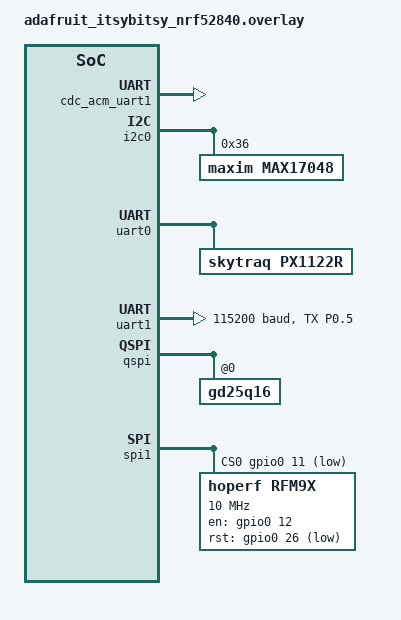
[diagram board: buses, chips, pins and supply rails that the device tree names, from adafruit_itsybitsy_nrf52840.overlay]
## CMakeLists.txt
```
cmake_minimum_required(VERSION 3.20.0)

list(APPEND ZEPHYR_EXTRA_MODULES
        ${CMAKE_CURRENT_SOURCE_DIR}/drivers/px1122r
        ${CMAKE_CURRENT_SOURCE_DIR}/drivers/max17048
        ${CMAKE_CURRENT_SOURCE_DIR}/drivers/rfm9x
        )

if (NOT CMAKE_BUILD_TYPE)
    set(CMAKE_BUILD_TYPE ZDebug)
endif ()

set(CONF_FILE "prj.${CMAKE_BUILD_TYPE}.conf" "prj.conf")

find_package(Zephyr REQUIRED HINTS $ENV{ZEPHYR_BASE})
project(diy_gnss_v2)

set(SOURCES
        src/main.c
        src/events/gnss_event.c
        src/events/data_event.c
        src/modules/gnss_module.c
        src/modules/io_module.c
        src/modules/data_module.c
        src/modules/sensor_module.c
        )

target_sources(app PRIVATE ${SOURCES})

zephyr_include_directories(
        configuration/${BOARD}  # Add include directory for board specific CAF def files
        include
)
```

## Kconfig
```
menu "DIY GNSS v2"

rsource "drivers/Kconfig"

endmenu
```

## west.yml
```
manifest:
  self:
    path: diy_gnss_v2
vdfzvfdsb 
  remotes:
    - name: nrfconnect
      url-base: https://github.com/nrfconnect

 projects:
    - name: nrf
      repo-path: sdk-nrf
      remote: nrfconnect
      revision: v2.2.0
```

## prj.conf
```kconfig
# This is not C or C++
CONFIG_SERIAL=y

CONFIG_UART_ASYNC_API=y
CONFIG_UART_0_INTERRUPT_DRIVEN=n
CONFIG_UART_0_ASYNC=y
CONFIG_UART_1_INTERRUPT_DRIVEN=n
CONFIG_UART_1_ASYNC=y
CONFIG_PX1122R_DRIVER=y

CONFIG_SPI=n
CONFIG_SPI_ASYNC=n
CONFIG_RFM9x=n

CONFIG_I2C=n
CONFIG_SENSOR=n
CONFIG_MAX17048=n

CONFIG_LOG=y
CONFIG_LOG_SPEED=y
CONFIG_LOG_DEFAULT_LEVEL=1

CONFIG_CBPRINTF_FP_SUPPORT=y
CONFIG_APP_EVENT_MANAGER=y
CONFIG_HEAP_MEM_POOL_SIZE=2048

CONFIG_CAF=y

CONFIG_CAF_BUTTONS=y
CONFIG_CAF_BUTTONS_POLARITY_INVERSED=y

CONFIG_BT=y
CONFIG_BT_SMP=y
CONFIG_BT_PERIPHERAL=y
CONFIG_BT_DEVICE_NAME="DIY GNSS"
CONFIG_BT_ADV_PROV=y
CONFIG_BT_ADV_PROV_DEVICE_NAME=y
CONFIG_BT_DEVICE_NAME_DYNAMIC=y
CONFIG_BT_DEVICE_APPEARANCE=1362
CONFIG_BT_NUS=y
CONFIG_BT_L2CAP_TX_MTU=512
CONFIG_BT_BUF_ACL_RX_SIZE=516
CONFIG_BT_GATT_CLIENT=y
CONFIG_CAF_BLE_STATE=y
CONFIG_CAF_BLE_ADV=y
CONFIG_CAF_BLE_ADV_PM_EVENTS=y
CONFIG_CAF_PM_EVENTS=y

CONFIG_SETTINGS=y
CONFIG_NVS=y
CONFIG_SETTINGS_NVS=y
CONFIG_FLASH=y
CONFIG_FLASH_PAGE_LAYOUT=y
CONFIG_FLASH_MAP=y
CONFIG_SETTINGS_RUNTIME=y
CONFIG_CAF_SETTINGS_LOADER=y
CONFIG_CAF_SETTINGS_LOADER_USE_THREAD=y
CONFIG_CAF_SETTINGS_LOADER_THREAD_STACK_SIZE=512
CONFIG_NORDIC_QSPI_NOR=y
```

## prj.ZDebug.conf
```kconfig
CONFIG_DEBUG_OPTIMIZATIONS=y
CONFIG_DEBUG=y
CONFIG_REBOOT=y
CONFIG_THREAD_NAME=y
CONFIG_THREAD_MONITOR=y
```

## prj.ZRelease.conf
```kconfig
# This is not C or C++
CONFIG_SPEED_OPTIMIZATIONS=y
CONFIG_ASSERT=n
# These don't need to be here unless you're debugging a release build.
CONFIG_THREAD_NAME=y
CONFIG_THREAD_MONITOR=y
```

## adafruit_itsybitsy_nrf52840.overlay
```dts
/ {
	chosen {
		nordic,nus-uart = &cdc_acm_uart1;
	};
};

&zephyr_udc0 {
	cdc_acm_uart1: cdc_acm_uart1 {
		compatible = "zephyr,cdc-acm-uart";
	};
};

&pinctrl {
	uart1_default: uart1_default {
		group1 {
			psels = <NRF_PSEL(UART_TX, 0, 5)>;
		};
	};

	uart1_sleep: uart1_sleep {
		group1 {
			psels = <NRF_PSEL(UART_TX, 0, 5)>;
			low-power-enable;
		};
	};
};

&i2c0 {
    status = "okay";

    max17048: max17048@36 {
        compatible = "maxim,max17048";
        reg = <0x36>;
    };
};

&uart0 {
    status = "okay";

    px1122r: px1122r {
        compatible = "skytraq,px1122r";
        // onepps-gpios = <&gpio0 2 (GPIO_PULL_DOWN | GPIO_ACTIVE_HIGH)>;
    };
};

&uart1 {
    status = "okay";
	compatible = "nordic,nrf-uarte";
	current-speed = <115200>;
    pinctrl-0 = <&uart1_default>;
	pinctrl-1 = <&uart1_sleep>;
	pinctrl-names = "default", "sleep";
};

&qspi {
	gd25q16: gd25q16@0 {
		sck-frequency = <30000000>;  // 32MHz doesn't work with this particular IC.
	};
};

&spi1 {
    cs-gpios = <&gpio0 11 GPIO_ACTIVE_LOW>;
    compatible = "nordic,nrf-spim";
	rfm9x: rfm9x@0 {
		compatible = "hoperf,rfm9x";
		reg = <0>;
		spi-max-frequency = <10000000>;
		en-gpios = <&gpio0 12 GPIO_ACTIVE_HIGH>;
		rst-gpios = <&gpio0 26 GPIO_ACTIVE_LOW>;
	};
};
```

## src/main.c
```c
#define MODULE main

#include "px1122r.h"

#include <app_event_manager.h>
#include <caf/events/module_state_event.h>
#include <zephyr/logging/log.h>

LOG_MODULE_REGISTER(MODULE, LOG_LEVEL_DBG);

void main(void) {
    LOG_INF("********");
    LOG_INF("DIY GNSS");
    LOG_INF("********");

    if (app_event_manager_init() != 0) {
		LOG_ERR("Application Event Manager not initialized");
		return;
    }

	module_set_state(MODULE_STATE_READY);
}
```

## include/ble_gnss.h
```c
#ifndef DIY_GNSS_V2_BLE_GNSS_H
#define DIY_GNSS_V2_BLE_GNSS_H

#include <zephyr/bluetooth/gatt.h>

#define BT_UUID_GNSS         BT_UUID_DECLARE_128(BT_UUID_128_ENCODE(0xc33a0000, 0xbda8, 0x4293, 0xb836, 0x10dd6d78e7a1))
#define BT_UUID_LATITUDE     BT_UUID_DECLARE_16(0x2aae)
#define BT_UUID_LONGITUDE    BT_UUID_DECLARE_16(0x2aaf)
#define BT_UUID_ALTITUDE     BT_UUID_DECLARE_16(0x2ab3)
#define BT_UUID_ANT_HEIGHT   BT_UUID_DECLARE_16(0x2b47)

static const struct bt_gatt_cpf decimal_degrees_double = {
        .name_space = 1,
        .description = 0x0000,
        .exponent = 0,
        .format = 0x15,  // Double precision
        .unit = 0x2763   // Plane angle (degree)
};

static const struct bt_gatt_cpf metres_single = {
        .name_space = 1,
        .description = 0x0000,
        .exponent = 0,
        .format = 0x14,  // Single precision
        .unit = 0x2701   // Length (metre)
};

#endif //DIY_GNSS_V2_BLE_GNSS_H
```

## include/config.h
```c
#ifndef DIY_GNSS_V2_CONFIG_H
#define DIY_GNSS_V2_CONFIG_H

#include <zephyr/kernel.h>

struct config_t {
    double latitude;
    double longitude;
    float elevation;
    float antenna_height;
    uint8_t sample_interval;
};

#endif //DIY_GNSS_V2_CONFIG_H
```
